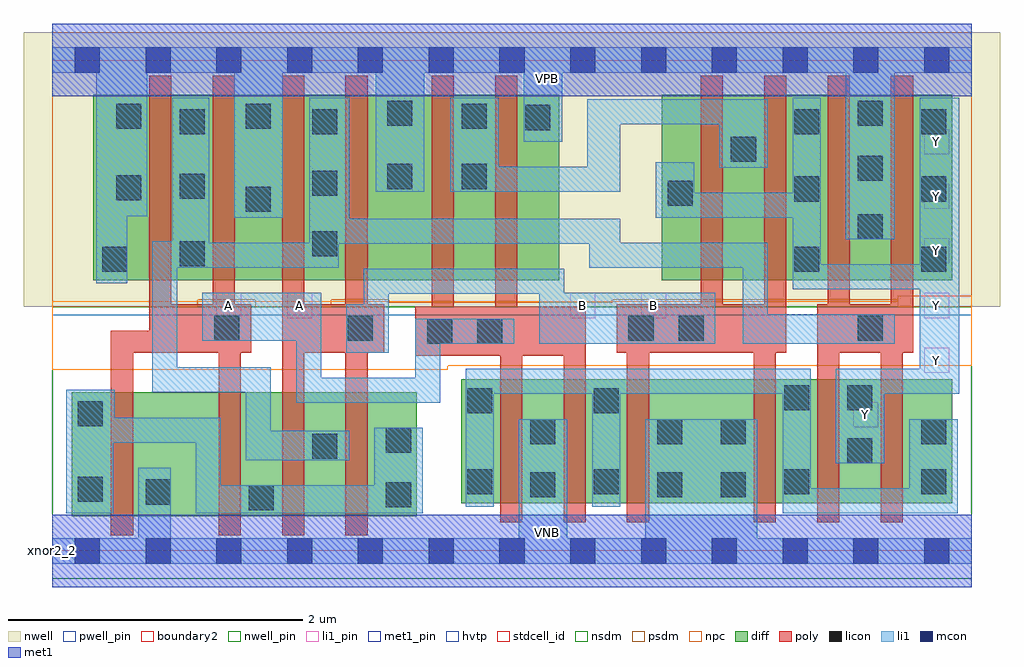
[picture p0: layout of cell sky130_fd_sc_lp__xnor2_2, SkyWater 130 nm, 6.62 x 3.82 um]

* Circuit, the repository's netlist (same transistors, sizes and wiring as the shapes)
* Copyright 2020 The SkyWater PDK Authors
*
* Licensed under the Apache License, Version 2.0 (the "License");
* you may not use this file except in compliance with the License.
* You may obtain a copy of the License at
*
*     https://www.apache.org/licenses/LICENSE-2.0
*
* Unless required by applicable law or agreed to in writing, software
* distributed under the License is distributed on an "AS IS" BASIS,
* WITHOUT WARRANTIES OR CONDITIONS OF ANY KIND, either express or implied.
* See the License for the specific language governing permissions and
* limitations under the License.
*
* SPDX-License-Identifier: Apache-2.0

.SUBCKT sky130_fd_sc_lp__xnor2_2 A B VGND VNB VPB VPWR Y
*.PININFO A:I B:I VGND:I VNB:I VPB:I VPWR:I Y:O
MMNnand0 VGND A sndNA VNB sky130_fd_pr__nfet_01v8 m=2 w=0.84U l=0.15U mult=1 sa=0.265
+ sb=0.265 sd=0.28 area=0.063 perim=1.14
MMNnand1 sndNA B inand VNB sky130_fd_pr__nfet_01v8 m=2 w=0.84U l=0.15U mult=1 sa=0.265
+ sb=0.265 sd=0.28 area=0.063 perim=1.14
MMNaoi10 nmid A VGND VNB sky130_fd_pr__nfet_01v8 m=2 w=0.84U l=0.15U mult=1 sa=0.265
+ sb=0.265 sd=0.28 area=0.063 perim=1.14
MMNaoi11 nmid B VGND VNB sky130_fd_pr__nfet_01v8 m=2 w=0.84U l=0.15U mult=1 sa=0.265
+ sb=0.265 sd=0.28 area=0.063 perim=1.14
MMNaoi20 Y inand nmid VNB sky130_fd_pr__nfet_01v8 m=2 w=0.84U l=0.15U mult=1 sa=0.265
+ sb=0.265 sd=0.28 area=0.063 perim=1.14
MMPnand0 inand A VPWR VPB sky130_fd_pr__pfet_01v8_hvt m=2 w=1.26U l=0.15U mult=1
+ sa=0.265 sb=0.265 sd=0.28 area=0.063 perim=1.14
MMPnand1 inand B VPWR VPB sky130_fd_pr__pfet_01v8_hvt m=2 w=1.26U l=0.15U mult=1
+ sa=0.265 sb=0.265 sd=0.28 area=0.063 perim=1.14
MMPaoi10 VPWR A sndPA VPB sky130_fd_pr__pfet_01v8_hvt m=2 w=1.26U l=0.15U mult=1
+ sa=0.265 sb=0.265 sd=0.28 area=0.063 perim=1.14
MMPaoi11 sndPA B Y VPB sky130_fd_pr__pfet_01v8_hvt m=2 w=1.26U l=0.15U mult=1 sa=0.265
+ sb=0.265 sd=0.28 area=0.063 perim=1.14
MMPaoi20 Y inand VPWR VPB sky130_fd_pr__pfet_01v8_hvt m=2 w=1.26U l=0.15U mult=1
+ sa=0.265 sb=0.265 sd=0.28 area=0.063 perim=1.14
.ENDS sky130_fd_sc_lp__xnor2_2

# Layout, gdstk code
import gdstk
lib = gdstk.Library(unit=1e-6, precision=1e-09)
def R(c, l, rs):  # rectangles x0, y0, x1, y1
    for r in rs: c.add(gdstk.rectangle(r[:2], r[2:], *l))
def A(c, l, x, y, w, h, nx, ny, dx, dy):  # array of equal rectangles
    R(c, l, [(x+i*dx, y+j*dy, x+i*dx+w, y+j*dy+h) for i in range(nx) for j in range(ny)])
def P(c, l, *ps):  # polygons
    for p in ps: c.add(gdstk.Polygon(p, *l))
nwell_pin = (64, 16)
nwell = (64, 20)
diff = (65, 20)
poly = (66, 20)
licon = (66, 44)
li1_pin = (67, 16)
li1 = (67, 20)
mcon = (67, 44)
met1_pin = (68, 16)
met1 = (68, 20)
hvtp = (78, 44)
stdcell_id = (81, 4)
nsdm = (93, 44)
psdm = (94, 20)
npc = (95, 20)
pwell_pin = (122, 16)
boundary2 = (236, 0)

sky130_fd_sc_lp__xnor2_2 = lib.new_cell('sky130_fd_sc_lp__xnor2_2')
R(sky130_fd_sc_lp__xnor2_2, nwell_pin, [(0,3.085,6.24,3.33)])
R(sky130_fd_sc_lp__xnor2_2, nwell, [(-0.19,1.655,6.43,3.52)])
R(sky130_fd_sc_lp__xnor2_2, diff, [(0.135,0.235,2.475,1.075), (2.775,0.325,6.105,1.165), (0.28,1.835,3.44,3.095), (4.135,1.835,6.105,3.095)])
P(sky130_fd_sc_lp__xnor2_2, poly, [(1.35,1.675),(1.24,1.675),(1.24,3.225),(1.09,3.225),(1.09,1.675),(0.81,1.675),(0.81,3.225),(0.66,3.225),(0.66,1.495),(0.4,1.495),(0.4,0.105),(0.55,0.105),(0.55,1.345),(1.13,1.345),(1.13,0.105),(1.28,0.105),(1.28,1.345),(1.35,1.345)],
  [(2.255,1.675),(2.14,1.675),(2.14,3.225),(1.99,3.225),(1.99,1.675),(1.71,1.675),(1.71,3.225),(1.56,3.225),(1.56,0.105),(1.71,0.105),(1.71,1.345),(1.99,1.345),(1.99,0.105),(2.14,0.105),(2.14,1.345),(2.255,1.345)],
  [(3.62,1.655),(3.155,1.655),(3.155,3.225),(3.005,3.225),(3.005,1.655),(2.725,1.655),(2.725,3.225),(2.575,3.225),(2.575,1.655),(2.465,1.655),(2.465,1.325),(3.04,1.325),(3.04,0.195),(3.19,0.195),(3.19,1.325),(3.47,1.325),(3.47,0.195),(3.62,0.195)],
  [(4.91,1.345),(4.98,1.345),(4.98,3.225),(4.83,3.225),(4.83,1.675),(4.55,1.675),(4.55,3.225),(4.4,3.225),(4.4,1.675),(3.83,1.675),(3.83,1.345),(3.9,1.345),(3.9,0.195),(4.05,0.195),(4.05,1.345),(4.76,1.345),(4.76,0.195),(4.91,0.195)],
  [(5.77,1.345),(5.84,1.345),(5.84,3.225),(5.69,3.225),(5.69,1.675),(5.41,1.675),(5.41,3.225),(5.26,3.225),(5.26,1.675),(5.19,1.675),(5.19,0.195),(5.34,0.195),(5.34,1.345),(5.62,1.345),(5.62,0.195),(5.77,0.195)])
R(sky130_fd_sc_lp__xnor2_2, licon, [(1.335,0.275,1.505,0.445), (2.265,0.295,2.435,0.465), (0.635,0.315,0.805,0.485), (0.175,0.335,0.345,0.505), (3.245,0.365,3.415,0.535), (4.105,0.365,4.275,0.535), (4.535,0.365,4.705,0.535), (2.815,0.385,2.985,0.555), (3.675,0.385,3.845,0.555), (4.965,0.385,5.135,0.555), (5.895,0.385,6.065,0.555), (5.395,0.595,5.565,0.765), (1.765,0.625,1.935,0.795), (2.265,0.665,2.435,0.835), (3.245,0.725,3.415,0.895), (4.105,0.725,4.275,0.895), (4.535,0.725,4.705,0.895), (5.895,0.725,6.065,0.895), (0.175,0.845,0.345,1.015), (2.815,0.935,2.985,1.105), (3.675,0.935,3.845,1.105), (4.965,0.955,5.135,1.125), (5.395,0.955,5.565,1.125), (2.545,1.405,2.715,1.575), (2.885,1.405,3.055,1.575), (1.1,1.425,1.27,1.595), (2.005,1.425,2.175,1.595), (3.91,1.425,4.08,1.595), (4.25,1.425,4.42,1.595), (5.465,1.425,5.635,1.595), (0.34,1.895,0.51,2.065), (5.035,1.895,5.205,2.065), (5.895,1.895,6.065,2.065), (0.865,1.93,1.035,2.1), (1.765,2,1.935,2.17), (5.465,2.115,5.635,2.285), (1.315,2.3,1.485,2.47), (4.175,2.34,4.345,2.51), (5.035,2.37,5.205,2.54), (5.895,2.37,6.065,2.54), (0.435,2.38,0.605,2.55), (0.865,2.39,1.035,2.56), (1.765,2.41,1.935,2.58), (2.275,2.455,2.445,2.625), (2.78,2.455,2.95,2.625), (5.465,2.51,5.635,2.68), (4.605,2.64,4.775,2.81), (0.865,2.825,1.035,2.995), (1.765,2.825,1.935,2.995), (5.035,2.825,5.205,2.995), (5.895,2.825,6.065,2.995), (3.21,2.855,3.38,3.025), (0.435,2.865,0.605,3.035), (1.315,2.865,1.485,3.035), (2.78,2.865,2.95,3.035), (2.275,2.885,2.445,3.055), (5.465,2.885,5.635,3.055)])
A(sky130_fd_sc_lp__xnor2_2, li1_pin, 5.915, 1.21, 0.17, 0.17, 1, 5, 0, 0.37)
R(sky130_fd_sc_lp__xnor2_2, li1_pin, [(5.435,0.84,5.605,1.01), (1.115,1.58,1.285,1.75), (1.595,1.58,1.765,1.75), (3.515,1.58,3.685,1.75), (3.995,1.58,4.165,1.75)])
P(sky130_fd_sc_lp__xnor2_2, li1, [(3.165,0.085),(3.165,0.895),(3.495,0.895),(3.495,0.085),(4.025,0.085),(4.025,0.895),(4.785,0.895),(4.785,0.085),(6.24,0.085),(6.24,-0.085),(0,-0.085),(0,0.085),(0.585,0.085),(0.585,0.565),(0.805,0.565),(0.805,0.085)],
  [(6.155,3.075),(5.885,3.075),(5.885,1.945),(5.215,1.945),(5.215,3.075),(5.025,3.075),(5.025,2.43),(4.355,2.43),(4.355,2.635),(4.095,2.635),(4.095,2.26),(5.025,2.26),(5.025,1.775),(5.885,1.775),(5.885,1.235),(5.315,1.235),(5.315,0.595),(5.645,0.595),(5.645,1.065),(6.155,1.065)],
  [(3.305,1.405),(3.305,1.745),(2.285,1.745),(2.285,1.345),(1.995,1.345),(1.995,1.675),(2.115,1.675),(2.115,1.915),(3.475,1.915),(3.475,1.75),(4.5,1.75),(4.5,1.405)],
  [(5.715,1.605),(4.855,1.605),(4.855,2.09),(3.855,2.09),(3.855,2.255),(2.015,2.255),(2.015,3.075),(1.745,3.075),(1.745,2.09),(1.065,2.09),(1.065,3.075),(0.815,3.075),(0.815,2.1),(0.68,2.1),(0.68,1.075),(1.315,1.075),(1.315,0.615),(2.015,0.615),(2.015,0.815),(1.485,0.815),(1.485,1.245),(0.85,1.245),(0.85,1.92),(1.945,1.92),(1.945,2.085),(3.645,2.085),(3.645,1.92),(4.685,1.92),(4.685,1.405),(5.715,1.405)],
  [(4.525,2.895),(3.855,2.895),(3.855,2.435),(2.7,2.435),(2.7,3.075),(3.03,3.075),(3.03,2.605),(3.63,2.605),(3.63,3.065),(4.855,3.065),(4.855,2.6),(4.525,2.6)],
  [(5.145,1.235),(5.145,0.425),(5.815,0.425),(5.815,0.895),(6.145,0.895),(6.145,0.255),(4.955,0.255),(4.955,1.065),(3.855,1.065),(3.855,0.3),(3.665,0.3),(3.665,1.065),(2.995,1.065),(2.995,0.3),(2.805,0.3),(2.805,1.235)],
  [(1.145,0.445),(2.185,0.445),(2.185,0.835),(2.515,0.835),(2.515,0.255),(0.975,0.255),(0.975,0.735),(0.415,0.735),(0.415,0.255),(0.095,0.255),(0.095,1.095),(0.425,1.095),(0.425,0.905),(1.145,0.905)],
  [(2.465,1.575),(3.135,1.575),(3.135,1.405),(2.635,1.405),(2.635,1.005),(1.655,1.005),(1.655,1.425),(1.02,1.425),(1.02,1.75),(1.825,1.75),(1.825,1.175),(2.465,1.175)],
  [(6.24,3.415),(0,3.415),(0,3.245),(0.3,3.245),(0.3,1.815),(0.51,1.815),(0.51,2.27),(0.645,2.27),(0.645,3.245),(1.235,3.245),(1.235,2.26),(1.565,2.26),(1.565,3.245),(2.195,3.245),(2.195,2.435),(2.525,2.435),(2.525,3.245),(3.2,3.245),(3.2,2.775),(3.46,2.775),(3.46,3.245),(5.385,3.245),(5.385,2.115),(5.715,2.115),(5.715,3.245),(6.24,3.245)])
A(sky130_fd_sc_lp__xnor2_2, mcon, 0.155, -0.085, 0.17, 0.17, 13, 2, 0.48, 3.33)
R(sky130_fd_sc_lp__xnor2_2, met1_pin, [(0,0,6.24,0.245), (0,3.085,6.24,3.33)])
R(sky130_fd_sc_lp__xnor2_2, met1, [(0,-0.245,6.24,0.245), (0,3.085,6.24,3.575)])
R(sky130_fd_sc_lp__xnor2_2, hvtp, [(0,1.6,6.24,3.33)])
R(sky130_fd_sc_lp__xnor2_2, stdcell_id, [(0,0,6.24,3.33)])
R(sky130_fd_sc_lp__xnor2_2, nsdm, [(0,-0.19,6.24,1.655)])
P(sky130_fd_sc_lp__xnor2_2, psdm, [(6.24,3.52),(0,3.52),(0,1.655),(0.99,1.655),(0.99,1.705),(1.38,1.705),(1.38,1.655),(1.895,1.655),(1.895,1.705),(2.285,1.705),(2.285,1.685),(3.8,1.685),(3.8,1.705),(5.735,1.705),(5.735,1.655),(6.24,1.655)])
P(sky130_fd_sc_lp__xnor2_2, npc, [(6.24,1.73),(5.735,1.73),(5.735,1.695),(0,1.695),(0,1.23),(2.685,1.23),(2.685,1.255),(6.24,1.255)])
R(sky130_fd_sc_lp__xnor2_2, pwell_pin, [(0,0,6.24,0.245)])
R(sky130_fd_sc_lp__xnor2_2, boundary2, [(0,0,6.24,3.33)])
sky130_fd_sc_lp__xnor2_2.add(gdstk.Label('VNB', (3.36,0.123), layer=64, texttype=59))
sky130_fd_sc_lp__xnor2_2.add(gdstk.Label('VPB', (3.36,3.208), layer=64, texttype=5))
sky130_fd_sc_lp__xnor2_2.add(gdstk.Label('xnor2_2', (0,0), layer=83, texttype=44))
sky130_fd_sc_lp__xnor2_2.add(gdstk.Label('VPWR', (3.36,3.208), layer=68, texttype=5))
sky130_fd_sc_lp__xnor2_2.add(gdstk.Label('VGND', (3.36,0.123), layer=68, texttype=5))
sky130_fd_sc_lp__xnor2_2.add(gdstk.Label('Y', (5.52,0.925), layer=67, texttype=5))
sky130_fd_sc_lp__xnor2_2.add(gdstk.Label('Y', (6,1.295), layer=67, texttype=5))
sky130_fd_sc_lp__xnor2_2.add(gdstk.Label('B', (3.6,1.665), layer=67, texttype=5))
sky130_fd_sc_lp__xnor2_2.add(gdstk.Label('A', (1.2,1.665), layer=67, texttype=5))
sky130_fd_sc_lp__xnor2_2.add(gdstk.Label('A', (1.68,1.665), layer=67, texttype=5))
sky130_fd_sc_lp__xnor2_2.add(gdstk.Label('B', (4.08,1.665), layer=67, texttype=5))
sky130_fd_sc_lp__xnor2_2.add(gdstk.Label('Y', (6,2.775), layer=67, texttype=5))
sky130_fd_sc_lp__xnor2_2.add(gdstk.Label('Y', (6,2.405), layer=67, texttype=5))
sky130_fd_sc_lp__xnor2_2.add(gdstk.Label('Y', (6,2.035), layer=67, texttype=5))
sky130_fd_sc_lp__xnor2_2.add(gdstk.Label('Y', (6,1.665), layer=67, texttype=5))

lib.write_gds('sky130_fd_sc_lp__xnor2_2.gds')
